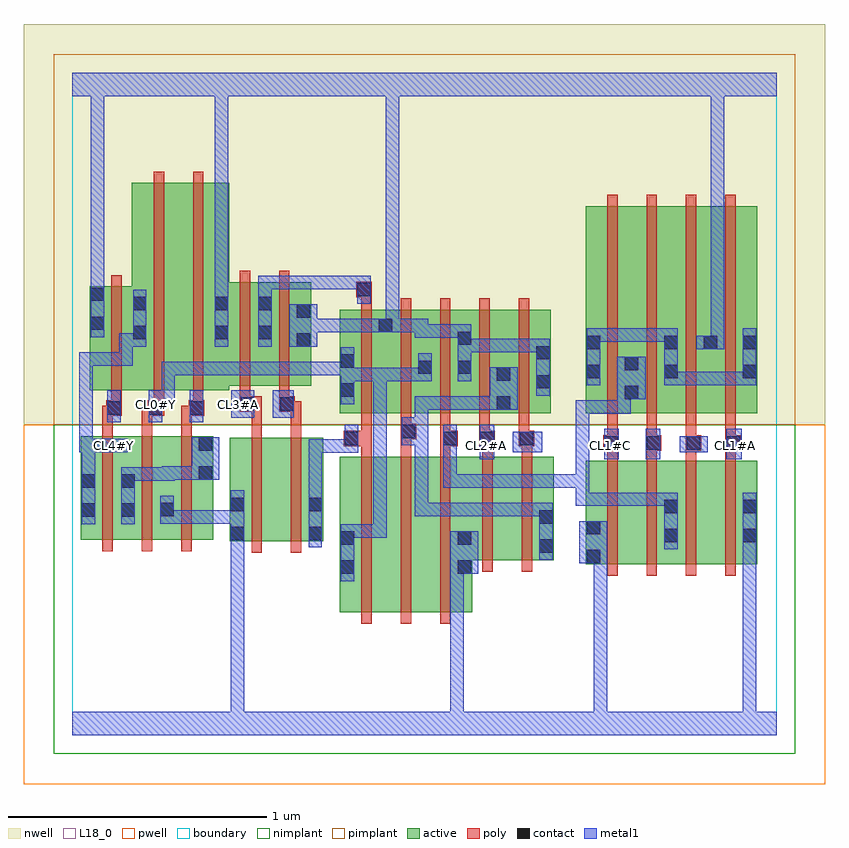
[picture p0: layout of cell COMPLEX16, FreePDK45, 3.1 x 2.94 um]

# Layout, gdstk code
import gdstk
lib = gdstk.Library(unit=1e-6, precision=1e-09)
def R(c, l, rs):  # rectangles x0, y0, x1, y1
    for r in rs: c.add(gdstk.rectangle(r[:2], r[2:], *l))
def A(c, l, x, y, w, h, nx, ny, dx, dy):  # array of equal rectangles
    R(c, l, [(x+i*dx, y+j*dy, x+i*dx+w, y+j*dy+h) for i in range(nx) for j in range(ny)])
active = (1, 0)
pwell = (2, 0)
nwell = (3, 0)
nimplant = (4, 0)
pimplant = (5, 0)
poly = (9, 0)
contact = (10, 0)
metal1 = (11, 0)
L18_0 = (18, 0)
boundary = (235, 0)

complex16 = lib.new_cell('COMPLEX16')
A(complex16, active, 1.18, 1.244, 0.06, 0.4, 3, 1, 0.152, 0)
A(complex16, active, 1.18, 1.244, 0.212, 0.4, 4, 1, 0.152, 0)
A(complex16, active, 2.13, 1.244, 0.06, 0.8, 4, 1, 0.152, 0)
A(complex16, active, 2.13, 1.244, 0.212, 0.8, 3, 1, 0.152, 0)
R(complex16, active, [(1.032,0.476,1.212,1.076), (1.212,0.476,1.364,1.076), (1.364,0.476,1.544,1.076), (1.484,0.476,1.544,1.076), (1.032,0.556,1.092,1.076), (1.982,0.66,2.042,1.06), (1.982,0.66,2.162,1.06), (2.162,0.66,2.342,1.06), (2.282,0.66,2.342,1.06), (2.282,0.66,2.466,1.06), (2.466,0.66,2.646,1.06), (2.586,0.66,2.646,1.06), (1.484,0.676,1.68,1.076), (1.68,0.676,1.86,1.076), (1.8,0.702,1.86,1.076), (0.608,0.75,0.668,1.15), (0.608,0.75,0.788,1.15), (0.788,0.75,0.968,1.15), (0.908,0.75,0.968,1.15), (0.032,0.756,0.092,1.156), (0.032,0.756,0.244,1.156), (0.184,0.756,0.396,1.156), (0.184,0.756,0.244,1.012), (0.336,0.756,0.544,1.156), (0.336,0.756,0.396,0.902), (0.484,0.756,0.544,1.156), (1.032,1.244,1.092,1.644), (1.032,1.244,1.24,1.644), (1.788,1.244,1.848,1.644), (1.982,1.244,2.042,2.044), (1.982,1.244,2.19,2.044), (1.636,1.254,1.696,1.644), (0.066,1.334,0.126,1.734), (0.066,1.334,0.29,1.734), (0.23,1.334,0.41,2.134), (0.41,1.334,0.606,2.134), (0.546,1.35,0.774,1.75), (0.714,1.35,0.774,1.75), (0.714,1.35,0.922,1.75), (0.862,1.35,0.922,1.67), (0.23,1.396,0.29,1.728), (0.546,1.526,0.606,1.698)])
R(complex16, pwell, [(-0.188,-0.188,2.908,1.2)])
R(complex16, nwell, [(-0.188,1.2,2.908,2.748)])
R(complex16, nimplant, [(-0.072,-0.072,2.792,1.2)])
R(complex16, pimplant, [(-0.072,1.2,2.792,2.632)])
A(complex16, poly, 1.116, 0.432, 0.04, 0.688, 3, 1, 0.152, 0)
A(complex16, poly, 2.066, 0.616, 0.04, 0.488, 4, 1, 0.152, 0)
A(complex16, poly, 0.116, 0.712, 0.04, 0.488, 3, 1, 0.152, 0)
A(complex16, poly, 2.066, 1.064, 0.04, 0.076, 4, 1, 0.152, 0)
A(complex16, poly, 2.066, 1.12, 0.04, 0.12, 4, 1, 0.152, 0)
A(complex16, poly, 1.42, 1.136, 0.04, 0.104, 3, 1, 0.152, 0)
A(complex16, poly, 0.116, 1.16, 0.04, 0.114, 3, 1, 0.152, 0)
A(complex16, poly, 1.116, 1.2, 0.04, 0.488, 5, 1, 0.152, 0)
A(complex16, poly, 2.066, 1.2, 0.04, 0.888, 4, 1, 0.152, 0)
A(complex16, poly, 0.13, 1.234, 0.04, 0.04, 3, 1, 0.16, 0)
R(complex16, poly, [(1.584,0.632,1.624,1.12), (1.736,0.632,1.776,1.12), (0.692,0.706,0.732,1.194), (0.844,0.706,0.884,1.194), (1.116,1.08,1.156,1.156), (1.268,1.08,1.308,1.184), (1.42,1.08,1.46,1.156), (1.584,1.08,1.624,1.156), (1.736,1.08,1.776,1.156), (2.05,1.1,2.11,1.16), (2.214,1.1,2.274,1.16), (2.218,1.1,2.258,1.14), (2.218,1.1,2.258,1.14), (2.37,1.1,2.43,1.16), (2.522,1.1,2.562,1.14), (2.522,1.1,2.562,1.14), (2.522,1.1,2.582,1.16), (1.048,1.116,1.156,1.176), (1.42,1.116,1.488,1.176), (1.572,1.116,1.632,1.176), (1.584,1.116,1.624,1.156), (1.584,1.116,1.624,1.156), (1.724,1.116,1.784,1.176), (1.736,1.116,1.776,1.156), (1.736,1.116,1.776,1.156), (2.066,1.12,2.106,1.16), (2.066,1.12,2.106,1.16), (2.37,1.12,2.41,1.16), (2.37,1.12,2.41,1.16), (1.116,1.136,1.156,1.176), (1.116,1.136,1.156,1.176), (1.116,1.136,1.156,1.24), (1.42,1.136,1.46,1.176), (1.42,1.136,1.46,1.176), (1.268,1.144,1.308,1.184), (1.268,1.144,1.308,1.184), (1.268,1.144,1.328,1.204), (0.692,1.154,0.732,1.29), (0.844,1.154,0.884,1.29), (1.268,1.164,1.308,1.24), (0.116,1.234,0.17,1.274), (0.13,1.234,0.19,1.294), (0.268,1.234,0.33,1.274), (0.29,1.234,0.354,1.294), (0.42,1.234,0.49,1.274), (0.45,1.234,0.51,1.294), (0.646,1.25,0.732,1.31), (0.798,1.25,0.858,1.31), (0.818,1.25,0.858,1.29), (0.818,1.25,0.884,1.29), (0.15,1.254,0.19,1.33), (0.314,1.254,0.354,1.33), (0.466,1.254,0.506,1.33), (0.646,1.27,0.686,1.31), (0.646,1.27,0.686,1.31), (0.646,1.27,0.686,1.346), (0.798,1.27,0.838,1.346), (0.15,1.29,0.19,1.778), (0.314,1.29,0.354,2.178), (0.466,1.29,0.506,2.178), (0.646,1.306,0.686,1.794), (0.798,1.306,0.838,1.794), (1.116,1.648,1.156,1.732), (1.096,1.692,1.156,1.752)])
A(complex16, contact, 0.134, 1.238, 0.052, 0.052, 3, 1, 0.16, 0)
A(complex16, contact, 2.286, 1.492, 0.052, 0.052, 3, 1, 0.152, 0)
R(complex16, contact, [(1.036,0.624,1.088,0.676), (1.488,0.624,1.54,0.676), (1.986,0.664,2.038,0.716), (1.804,0.706,1.856,0.758), (1.036,0.736,1.088,0.788), (1.488,0.736,1.54,0.788), (2.286,0.746,2.338,0.798), (2.59,0.746,2.642,0.798), (0.612,0.754,0.664,0.806), (0.912,0.754,0.964,0.806), (1.986,0.776,2.038,0.828), (1.804,0.818,1.856,0.87), (0.036,0.844,0.088,0.896), (0.188,0.844,0.24,0.896), (0.34,0.846,0.392,0.898), (2.286,0.858,2.338,0.91), (2.59,0.858,2.642,0.91), (0.612,0.866,0.664,0.918), (0.912,0.866,0.964,0.918), (0.036,0.956,0.088,1.008), (0.188,0.956,0.24,1.008), (0.488,0.988,0.54,1.04), (0.488,1.1,0.54,1.152), (2.054,1.104,2.106,1.156), (2.218,1.104,2.27,1.156), (2.374,1.104,2.426,1.156), (2.526,1.104,2.578,1.156), (1.052,1.12,1.104,1.172), (1.432,1.12,1.484,1.172), (1.576,1.12,1.628,1.172), (1.728,1.12,1.78,1.172), (1.272,1.148,1.324,1.2), (0.65,1.254,0.702,1.306), (0.802,1.254,0.854,1.306), (1.64,1.258,1.692,1.31), (2.134,1.298,2.186,1.35), (1.036,1.308,1.088,1.36), (1.792,1.34,1.844,1.392), (1.64,1.37,1.692,1.422), (1.986,1.38,2.038,1.432), (2.286,1.38,2.338,1.432), (2.59,1.38,2.642,1.432), (1.336,1.396,1.388,1.448), (1.488,1.396,1.54,1.448), (2.134,1.41,2.186,1.462), (1.036,1.42,1.088,1.472), (1.792,1.452,1.844,1.504), (1.986,1.492,2.038,1.544), (0.866,1.502,0.918,1.554), (1.488,1.508,1.54,1.56), (0.234,1.53,0.286,1.582), (0.55,1.53,0.602,1.582), (0.718,1.53,0.77,1.582), (1.184,1.558,1.236,1.61), (0.07,1.566,0.122,1.618), (0.866,1.614,0.918,1.666), (0.234,1.642,0.286,1.694), (0.55,1.642,0.602,1.694), (0.718,1.642,0.77,1.694), (0.07,1.678,0.122,1.73), (1.1,1.696,1.152,1.748)])
A(complex16, metal1, 0.134, 1.21, 0.052, 0.124, 3, 1, 0.16, 0)
R(complex16, metal1, [(0,0,2.72,0.092), (0.612,0.04,0.664,0.092), (0.612,0.04,0.664,0.092), (0.612,0.04,0.664,0.092), (0.612,0.04,0.664,0.092), (0.612,0.04,0.664,0.092), (0.612,0.04,0.664,0.092), (0.612,0.04,0.664,0.706), (1.46,0.04,1.512,0.092), (1.46,0.04,1.512,0.092), (1.46,0.04,1.512,0.092), (1.46,0.04,1.512,0.092), (1.46,0.04,1.512,0.092), (1.46,0.04,1.512,0.092), (1.46,0.04,1.512,0.092), (1.46,0.04,1.512,0.092), (1.46,0.04,1.512,0.676), (2.014,0.04,2.066,0.092), (2.014,0.04,2.066,0.092), (2.014,0.04,2.066,0.092), (2.014,0.04,2.066,0.092), (2.014,0.04,2.066,0.092), (2.014,0.04,2.066,0.092), (2.014,0.04,2.066,0.092), (2.014,0.04,2.066,0.092), (2.014,0.04,2.066,0.716), (2.59,0.04,2.642,0.77), (1.036,0.596,1.088,0.816), (1.46,0.624,1.568,0.788), (0.612,0.654,0.664,0.706), (0.612,0.654,0.664,0.706), (0.612,0.654,0.664,0.706), (0.612,0.654,0.664,0.706), (0.612,0.654,0.664,0.706), (0.612,0.654,0.664,0.778), (1.958,0.664,2.066,0.828), (2.014,0.664,2.066,0.716), (2.014,0.664,2.066,0.716), (2.014,0.664,2.066,0.716), (2.014,0.664,2.066,0.716), (1.804,0.678,1.856,0.898), (2.286,0.718,2.338,0.938), (2.59,0.718,2.642,0.77), (2.59,0.718,2.642,0.77), (2.59,0.718,2.642,0.77), (2.59,0.718,2.642,0.77), (2.59,0.718,2.642,0.77), (2.59,0.718,2.642,0.77), (2.59,0.718,2.642,0.77), (2.59,0.718,2.642,0.77), (2.59,0.718,2.642,0.77), (2.59,0.718,2.642,0.77), (2.59,0.718,2.642,0.77), (2.59,0.718,2.642,0.77), (2.59,0.718,2.642,0.938), (0.612,0.726,0.664,0.946), (0.912,0.726,0.964,0.946), (1.036,0.764,1.088,0.816), (1.036,0.764,1.088,0.816), (1.036,0.764,1.214,0.816), (1.162,0.764,1.214,0.816), (1.162,0.764,1.214,0.816), (1.162,0.764,1.214,0.816), (1.162,0.764,1.214,0.816), (1.162,0.764,1.214,0.816), (1.162,0.764,1.214,1.42), (0.036,0.816,0.088,1.036), (0.188,0.816,0.24,1.036), (0.34,0.818,0.392,0.926), (0.34,0.818,0.506,0.87), (0.454,0.818,0.506,0.87), (0.454,0.818,0.506,0.87), (0.454,0.818,0.506,0.87), (0.454,0.818,0.664,0.87), (1.322,0.846,1.374,0.898), (1.322,0.846,1.498,0.898), (1.322,0.846,1.374,1.228), (1.446,0.846,1.498,0.898), (1.446,0.846,1.498,0.898), (1.446,0.846,1.498,0.898), (1.446,0.846,1.642,0.898), (1.59,0.846,1.642,0.898), (1.59,0.846,1.65,0.898), (1.598,0.846,1.65,0.898), (1.598,0.846,1.856,0.898), (1.804,0.846,1.856,0.898), (1.804,0.846,1.856,0.898), (1.944,0.886,1.996,0.938), (1.944,0.886,1.996,0.938), (1.944,0.886,1.996,0.938), (1.944,0.886,2.228,0.938), (1.944,0.886,1.996,1.008), (2.176,0.886,2.228,0.938), (2.176,0.886,2.266,0.938), (2.214,0.886,2.266,0.938), (2.214,0.886,2.338,0.938), (0.912,0.894,0.964,1.144), (1.432,0.956,1.642,1.008), (1.432,0.956,1.484,1.144), (1.59,0.956,1.642,1.008), (1.59,0.956,1.65,1.008), (1.598,0.956,1.65,1.008), (1.598,0.956,1.76,1.008), (1.708,0.956,1.76,1.008), (1.708,0.956,1.76,1.008), (1.708,0.956,1.76,1.008), (1.708,0.956,1.996,1.008), (1.944,0.956,1.996,1.008), (1.944,0.956,1.996,1.294), (0.036,0.984,0.088,1.146), (0.188,0.984,0.396,1.036), (0.344,0.984,0.396,1.036), (0.344,0.984,0.396,1.036), (0.344,0.984,0.396,1.04), (0.344,0.988,0.512,1.04), (0.46,0.988,0.512,1.04), (0.46,0.988,0.512,1.04), (0.46,0.988,0.568,1.152), (1.574,1.066,1.63,1.2), (2.054,1.066,2.11,1.184), (2.214,1.066,2.27,1.184), (2.526,1.066,2.586,1.184), (0.912,1.092,0.964,1.144), (0.912,1.092,0.964,1.144), (0.912,1.092,0.964,1.144), (0.912,1.092,1.104,1.144), (1.052,1.092,1.104,1.2), (1.432,1.092,1.484,1.144), (1.432,1.092,1.484,1.2), (0.026,1.094,0.078,1.146), (0.026,1.094,0.078,1.146), (0.026,1.094,0.078,1.48), (0.026,1.094,0.214,1.146), (1.7,1.094,1.814,1.172), (2.346,1.094,2.454,1.156), (1.272,1.12,1.324,1.228), (1.272,1.176,1.374,1.228), (1.322,1.176,1.374,1.228), (1.322,1.176,1.374,1.228), (1.322,1.176,1.374,1.31), (0.614,1.226,0.702,1.334), (0.774,1.226,0.854,1.334), (1.944,1.242,1.996,1.294), (1.944,1.242,2.156,1.294), (2.104,1.242,2.156,1.294), (2.104,1.242,2.156,1.294), (2.104,1.242,2.156,1.294), (2.104,1.242,2.156,1.35), (1.322,1.258,1.516,1.31), (1.464,1.258,1.516,1.31), (1.464,1.258,1.516,1.31), (1.464,1.258,1.516,1.31), (1.464,1.258,1.516,1.31), (1.464,1.258,1.516,1.31), (1.464,1.258,1.642,1.31), (1.59,1.258,1.642,1.31), (1.59,1.258,1.664,1.31), (1.612,1.258,1.72,1.422), (1.036,1.28,1.088,1.5), (0.294,1.282,0.396,1.334), (0.344,1.282,0.396,1.334), (0.344,1.282,0.396,1.444), (2.104,1.298,2.214,1.462), (1.792,1.312,1.844,1.532), (1.986,1.352,2.038,1.572), (2.286,1.352,2.338,1.404), (2.286,1.352,2.338,1.404), (2.286,1.352,2.338,1.572), (2.286,1.352,2.468,1.404), (2.416,1.352,2.468,1.404), (2.416,1.352,2.468,1.404), (2.416,1.352,2.468,1.404), (2.416,1.352,2.642,1.404), (2.59,1.352,2.642,1.404), (2.59,1.352,2.642,1.404), (2.59,1.352,2.642,1.572), (1.036,1.368,1.154,1.42), (1.102,1.368,1.154,1.42), (1.102,1.368,1.214,1.42), (1.162,1.368,1.214,1.42), (1.162,1.368,1.264,1.42), (1.212,1.368,1.264,1.42), (1.212,1.368,1.388,1.42), (1.336,1.368,1.388,1.476), (1.488,1.368,1.54,1.588), (0.344,1.392,0.396,1.444), (0.344,1.392,0.506,1.444), (0.454,1.392,0.506,1.444), (0.454,1.392,0.506,1.444), (0.454,1.392,0.506,1.444), (0.454,1.392,0.66,1.444), (0.608,1.392,0.66,1.444), (0.608,1.392,0.66,1.444), (0.608,1.392,0.66,1.444), (0.608,1.392,0.77,1.444), (0.718,1.392,0.77,1.444), (0.718,1.392,0.77,1.444), (0.718,1.392,0.77,1.444), (0.718,1.392,0.88,1.444), (0.828,1.392,0.88,1.444), (0.828,1.392,1.088,1.444), (0.026,1.428,0.078,1.48), (0.026,1.428,0.232,1.48), (0.18,1.428,0.232,1.554), (1.488,1.48,1.642,1.532), (1.59,1.48,1.642,1.532), (1.59,1.48,1.65,1.532), (1.598,1.48,1.65,1.532), (1.598,1.48,1.844,1.532), (1.792,1.48,1.844,1.532), (1.792,1.48,1.844,1.532), (2.41,1.492,2.518,1.544), (2.466,1.492,2.518,1.544), (2.466,1.492,2.518,1.544), (2.466,1.492,2.518,2.52), (0.18,1.502,0.286,1.554), (0.234,1.502,0.286,1.722), (0.55,1.502,0.602,1.722), (0.718,1.502,0.77,1.722), (0.838,1.502,0.946,1.666), (1.986,1.52,2.156,1.572), (2.104,1.52,2.156,1.572), (2.104,1.52,2.156,1.572), (2.104,1.52,2.156,1.572), (2.104,1.52,2.288,1.572), (2.236,1.52,2.288,1.572), (2.236,1.52,2.338,1.572), (1.322,1.536,1.516,1.588), (1.322,1.536,1.374,1.61), (1.464,1.536,1.516,1.588), (1.464,1.536,1.54,1.588), (0.07,1.538,0.122,1.758), (0.894,1.558,0.946,1.61), (0.894,1.558,0.946,1.61), (0.894,1.558,1.074,1.61), (1.022,1.558,1.074,1.61), (1.022,1.558,1.208,1.61), (1.156,1.558,1.264,1.61), (1.21,1.558,1.262,1.61), (1.21,1.558,1.262,1.61), (1.21,1.558,1.262,1.61), (1.21,1.558,1.262,1.61), (1.21,1.558,1.262,1.61), (1.21,1.558,1.262,1.61), (1.21,1.558,1.262,1.61), (1.21,1.558,1.262,1.61), (1.21,1.558,1.262,1.61), (1.21,1.558,1.262,1.61), (1.21,1.558,1.262,1.61), (1.21,1.558,1.262,1.61), (1.21,1.558,1.262,1.61), (1.21,1.558,1.262,1.61), (1.21,1.558,1.262,1.61), (1.21,1.558,1.262,1.61), (1.21,1.558,1.262,2.52), (1.212,1.558,1.374,1.61), (1.322,1.558,1.374,1.61), (1.322,1.558,1.374,1.61), (1.1,1.668,1.152,1.776), (0.55,1.67,0.602,1.722), (0.55,1.67,0.602,1.722), (0.55,1.67,0.602,1.722), (0.55,1.67,0.602,1.722), (0.55,1.67,0.602,1.722), (0.55,1.67,0.602,1.722), (0.55,1.67,0.602,1.722), (0.55,1.67,0.602,1.722), (0.55,1.67,0.602,2.52), (0.718,1.67,0.77,1.776), (0.07,1.706,0.122,1.758), (0.07,1.706,0.122,1.758), (0.07,1.706,0.122,1.758), (0.07,1.706,0.122,1.758), (0.07,1.706,0.122,1.758), (0.07,1.706,0.122,1.758), (0.07,1.706,0.122,2.52), (0.718,1.724,0.77,1.776), (0.718,1.724,0.77,1.776), (0.718,1.724,0.77,1.776), (0.718,1.724,0.88,1.776), (0.828,1.724,0.88,1.776), (0.828,1.724,0.88,1.776), (0.828,1.724,0.88,1.776), (0.828,1.724,1.152,1.776), (0,2.468,2.72,2.56), (0.07,2.468,0.122,2.52), (0.07,2.468,0.122,2.52), (0.07,2.468,0.122,2.52), (0.07,2.468,0.122,2.52), (0.07,2.468,0.122,2.52), (0.07,2.468,0.122,2.52), (0.07,2.468,0.122,2.52), (0.07,2.468,0.122,2.52), (0.07,2.468,0.122,2.52), (0.07,2.468,0.122,2.52), (2.466,2.468,2.518,2.52), (2.466,2.468,2.518,2.52), (2.466,2.468,2.518,2.52), (2.466,2.468,2.518,2.52), (2.466,2.468,2.518,2.52), (2.466,2.468,2.518,2.52)])
A(complex16, L18_0, 2.054, 1.094, 0.052, 0.052, 4, 1, 0.16, 0)
A(complex16, L18_0, 0.134, 1.21, 0.052, 0.124, 3, 1, 0.16, 0)
A(complex16, L18_0, 0.134, 1.254, 0.052, 0.052, 5, 1, 0.16, 0)
R(complex16, L18_0, [(0,0,2.72,0.092), (0.612,0.04,0.664,0.092), (0.612,0.04,0.664,0.092), (0.612,0.04,0.664,0.092), (0.612,0.04,0.664,0.092), (0.612,0.04,0.664,0.092), (0.612,0.04,0.664,0.092), (0.612,0.04,0.664,0.706), (1.46,0.04,1.512,0.092), (1.46,0.04,1.512,0.092), (1.46,0.04,1.512,0.092), (1.46,0.04,1.512,0.092), (1.46,0.04,1.512,0.092), (1.46,0.04,1.512,0.092), (1.46,0.04,1.512,0.092), (1.46,0.04,1.512,0.092), (1.46,0.04,1.512,0.676), (2.014,0.04,2.066,0.092), (2.014,0.04,2.066,0.092), (2.014,0.04,2.066,0.092), (2.014,0.04,2.066,0.092), (2.014,0.04,2.066,0.092), (2.014,0.04,2.066,0.092), (2.014,0.04,2.066,0.092), (2.014,0.04,2.066,0.092), (2.014,0.04,2.066,0.716), (2.59,0.04,2.642,0.77), (1.036,0.596,1.088,0.816), (1.46,0.624,1.568,0.788), (0.612,0.654,0.664,0.706), (0.612,0.654,0.664,0.706), (0.612,0.654,0.664,0.706), (0.612,0.654,0.664,0.706), (0.612,0.654,0.664,0.706), (0.612,0.654,0.664,0.778), (1.958,0.664,2.066,0.828), (2.014,0.664,2.066,0.716), (2.014,0.664,2.066,0.716), (2.014,0.664,2.066,0.716), (2.014,0.664,2.066,0.716), (2.59,0.718,2.642,0.938), (2.59,0.718,2.642,0.77), (2.59,0.718,2.642,0.77), (2.59,0.718,2.642,0.77), (2.59,0.718,2.642,0.77), (2.59,0.718,2.642,0.77), (2.59,0.718,2.642,0.77), (2.59,0.718,2.642,0.77), (2.59,0.718,2.642,0.77), (2.59,0.718,2.642,0.77), (2.59,0.718,2.642,0.77), (2.59,0.718,2.642,0.77), (2.59,0.718,2.642,0.77), (0.612,0.726,0.664,0.946), (1.036,0.764,1.088,0.816), (1.036,0.764,1.088,0.816), (1.036,0.764,1.214,0.816), (1.162,0.764,1.214,0.816), (1.162,0.764,1.214,0.816), (1.162,0.764,1.214,0.816), (1.162,0.764,1.214,0.816), (1.162,0.764,1.214,0.816), (1.162,0.764,1.214,1.42), (0.036,0.816,0.088,1.036), (0.34,0.818,0.392,0.926), (0.34,0.818,0.506,0.87), (0.454,0.818,0.506,0.87), (0.454,0.818,0.506,0.87), (0.454,0.818,0.506,0.87), (0.454,0.818,0.664,0.87), (0.036,0.984,0.088,1.146), (1.574,1.066,1.63,1.2), (2.054,1.066,2.11,1.184), (2.214,1.066,2.27,1.184), (2.526,1.066,2.586,1.184), (0.026,1.094,0.214,1.146), (0.026,1.094,0.078,1.146), (0.026,1.094,0.078,1.146), (0.026,1.094,0.078,1.48), (0.134,1.094,0.186,1.146), (1.574,1.094,1.626,1.146), (1.7,1.094,1.814,1.172), (1.734,1.094,1.786,1.146), (2.346,1.094,2.454,1.156), (0.614,1.226,0.702,1.334), (0.774,1.226,0.854,1.334), (1.036,1.28,1.088,1.5), (0.294,1.282,0.396,1.334), (0.344,1.282,0.396,1.444), (0.344,1.282,0.396,1.334), (1.792,1.312,1.844,1.532), (1.036,1.368,1.154,1.42), (1.102,1.368,1.154,1.42), (1.102,1.368,1.214,1.42), (1.162,1.368,1.214,1.42), (1.162,1.368,1.264,1.42), (1.212,1.368,1.264,1.42), (1.212,1.368,1.388,1.42), (1.336,1.368,1.388,1.476), (1.488,1.368,1.54,1.588), (0.344,1.392,0.396,1.444), (0.344,1.392,0.506,1.444), (0.454,1.392,0.506,1.444), (0.454,1.392,0.506,1.444), (0.454,1.392,0.506,1.444), (0.454,1.392,0.66,1.444), (0.608,1.392,0.66,1.444), (0.608,1.392,0.66,1.444), (0.608,1.392,0.66,1.444), (0.608,1.392,0.77,1.444), (0.718,1.392,0.77,1.444), (0.718,1.392,0.77,1.444), (0.718,1.392,0.77,1.444), (0.718,1.392,0.88,1.444), (0.828,1.392,0.88,1.444), (0.828,1.392,1.088,1.444), (0.026,1.428,0.078,1.48), (0.026,1.428,0.232,1.48), (0.18,1.428,0.232,1.554), (1.488,1.48,1.642,1.532), (1.59,1.48,1.642,1.532), (1.59,1.48,1.65,1.532), (1.598,1.48,1.65,1.532), (1.598,1.48,1.844,1.532), (1.792,1.48,1.844,1.532), (1.792,1.48,1.844,1.532), (2.41,1.492,2.518,1.544), (2.466,1.492,2.518,1.544), (2.466,1.492,2.518,1.544), (2.466,1.492,2.518,2.52), (0.18,1.502,0.286,1.554), (0.234,1.502,0.286,1.722), (0.55,1.502,0.602,1.722), (0.838,1.502,0.946,1.666), (1.322,1.536,1.374,1.61), (1.322,1.536,1.516,1.588), (1.464,1.536,1.516,1.588), (1.464,1.536,1.54,1.588), (0.07,1.538,0.122,1.758), (0.894,1.558,0.946,1.61), (0.894,1.558,0.946,1.61), (0.894,1.558,1.074,1.61), (1.022,1.558,1.074,1.61), (1.022,1.558,1.208,1.61), (1.156,1.558,1.264,1.61), (1.21,1.558,1.262,1.61), (1.21,1.558,1.262,1.61), (1.21,1.558,1.262,1.61), (1.21,1.558,1.262,1.61), (1.21,1.558,1.262,1.61), (1.21,1.558,1.262,1.61), (1.21,1.558,1.262,1.61), (1.21,1.558,1.262,1.61), (1.21,1.558,1.262,1.61), (1.21,1.558,1.262,1.61), (1.21,1.558,1.262,1.61), (1.21,1.558,1.262,1.61), (1.21,1.558,1.262,1.61), (1.21,1.558,1.262,1.61), (1.21,1.558,1.262,1.61), (1.21,1.558,1.262,1.61), (1.21,1.558,1.262,2.52), (1.212,1.558,1.374,1.61), (1.322,1.558,1.374,1.61), (1.322,1.558,1.374,1.61), (0.55,1.67,0.602,1.722), (0.55,1.67,0.602,1.722), (0.55,1.67,0.602,1.722), (0.55,1.67,0.602,1.722), (0.55,1.67,0.602,1.722), (0.55,1.67,0.602,1.722), (0.55,1.67,0.602,1.722), (0.55,1.67,0.602,1.722), (0.55,1.67,0.602,2.52), (0.07,1.706,0.122,1.758), (0.07,1.706,0.122,1.758), (0.07,1.706,0.122,1.758), (0.07,1.706,0.122,1.758), (0.07,1.706,0.122,1.758), (0.07,1.706,0.122,1.758), (0.07,1.706,0.122,2.52), (0,2.468,2.72,2.56), (0.07,2.468,0.122,2.52), (0.07,2.468,0.122,2.52), (0.07,2.468,0.122,2.52), (0.07,2.468,0.122,2.52), (0.07,2.468,0.122,2.52), (0.07,2.468,0.122,2.52), (0.07,2.468,0.122,2.52), (0.07,2.468,0.122,2.52), (0.07,2.468,0.122,2.52), (0.07,2.468,0.122,2.52), (2.466,2.468,2.518,2.52), (2.466,2.468,2.518,2.52), (2.466,2.468,2.518,2.52), (2.466,2.468,2.518,2.52), (2.466,2.468,2.518,2.52), (2.466,2.468,2.518,2.52)])
R(complex16, boundary, [(0,0,2.72,2.56)])
complex16.add(gdstk.Label('CL0#Y', (0.32,1.28), layer=11, texttype=0))
complex16.add(gdstk.Label('CL1#A', (2.56,1.12), layer=11, texttype=0))
complex16.add(gdstk.Label('CL1#B', (2.4,1.12), layer=11, texttype=0))
complex16.add(gdstk.Label('CL1#C', (2.08,1.12), layer=11, texttype=0))
complex16.add(gdstk.Label('CL1#D', (2.24,1.12), layer=11, texttype=0))
complex16.add(gdstk.Label('CL2#A', (1.6,1.12), layer=11, texttype=0))
complex16.add(gdstk.Label('CL2#B', (1.76,1.12), layer=11, texttype=0))
complex16.add(gdstk.Label('CL3#A', (0.64,1.28), layer=11, texttype=0))
complex16.add(gdstk.Label('CL3#B', (0.8,1.28), layer=11, texttype=0))
complex16.add(gdstk.Label('CL4#A', (0.48,1.28), layer=11, texttype=0))
complex16.add(gdstk.Label('CL4#C', (0.16,1.28), layer=11, texttype=0))
complex16.add(gdstk.Label('CL4#Y', (0.16,1.12), layer=11, texttype=0))

lib.write_gds('COMPLEX16.gds')
